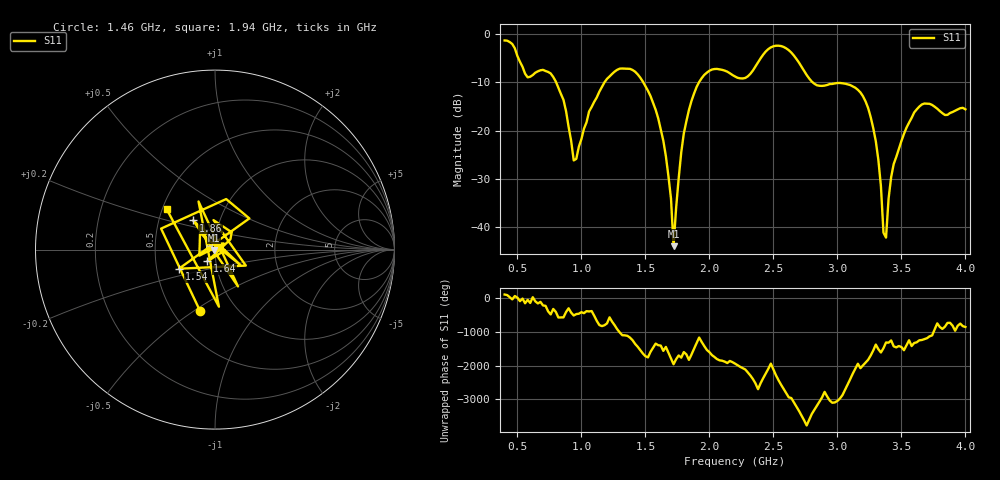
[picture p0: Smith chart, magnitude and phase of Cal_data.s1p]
! Created with skrf (http://scikit-rf.org).
# Hz S RI R 50.0
!freq ReS11 ImS11
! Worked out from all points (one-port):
!   181 points, 400 MHz to 4 GHz, reference 50 ohm
!   lowest |S11| = -43.9 dB at 1.72 GHz (marker M1), VSWR 1.01, Z = 49.4 - j0.195 ohm
!   |S11| at or under -10 dB: 802.6 MHz to 1.18 GHz (377.5 MHz wide, 38.1 % of centre); 1.483 GHz to 1.919 GHz (435.1 MHz wide, 25.6 % of centre); 2.807 GHz to end of sweep
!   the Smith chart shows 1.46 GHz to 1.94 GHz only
!   S11 on the Smith chart (normalised r, x): 1.46 GHz: 0.68, -0.53; 1.54 GHz: 0.65, -0.15; 1.64 GHz: 0.91, -0.12; 1.86 GHz: 0.75, +0.25; 1.94 GHz: 0.53, +0.27
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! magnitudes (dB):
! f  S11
! 400 MHz  -1.3
! 860 MHz  -13.6
! 940 MHz  -26.2
! 1.06 GHz  -16.0
! 1.3 GHz  -7.2
! 1.46 GHz  -9.0
! 1.54 GHz  -12.8
! 1.64 GHz  -22.1
! 1.7 GHz  -34.1
! 1.72 GHz  -43.9
! 1.76 GHz  -29.9
! 1.8 GHz  -20.6
! 1.86 GHz  -13.9
! 1.94 GHz  -9.1
! 2.2 GHz  -8.8
! 2.5 GHz  -2.5
! 2.66 GHz  -4.5
! 2.84 GHz  -10.6
! 3.1 GHz  -10.6
! 3.26 GHz  -17.2
! 3.32 GHz  -26.1
! 3.36 GHz  -41.2
! 3.38 GHz  -42.2
! 3.4 GHz  -34.1
! 3.44 GHz  -26.9
! 3.56 GHz  -18.3
! 3.68 GHz  -14.4
! 4 GHz  -15.6
